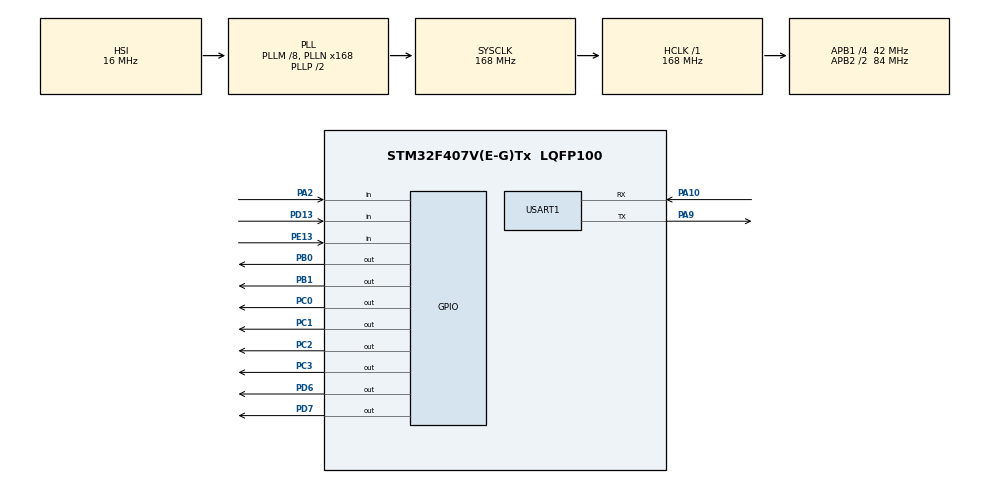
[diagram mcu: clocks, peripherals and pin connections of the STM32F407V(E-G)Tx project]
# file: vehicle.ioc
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Mcu.Family=STM32F4
Mcu.Name=STM32F407V(E-G)Tx
Mcu.Package=LQFP100
NVIC.PriorityGroup=NVIC_PRIORITYGROUP_4
PA10.Mode=Asynchronous
PA10.Signal=USART1_RX
PA13.Mode=Serial_Wire
PA13.Signal=SYS_JTMS-SWDIO
PA14.Mode=Serial_Wire
PA14.Signal=SYS_JTCK-SWCLK
PA2.Signal=GPIO_Input
PA9.Mode=Asynchronous
PA9.Signal=USART1_TX
PB0.Signal=GPIO_Output
PB1.Signal=GPIO_Output
PC0.Signal=GPIO_Output
PC1.Signal=GPIO_Output
PC2.Signal=GPIO_Output
PC3.Signal=GPIO_Output
PD13.Signal=GPIO_Input
PD6.Signal=GPIO_Output
PD7.Signal=GPIO_Output
PE13.Signal=GPIO_Input
PH0-OSC_IN.Mode=HSE-External-Oscillator
PH0-OSC_IN.Signal=RCC_OSC_IN
PH1-OSC_OUT.Mode=HSE-External-Oscillator
PH1-OSC_OUT.Signal=RCC_OSC_OUT
ProjectManager.HeapSize=0x200
ProjectManager.StackSize=0x400
ProjectManager.TargetToolchain=STM32CubeIDE
RCC.48MHZClocksFreq_Value=84000000
RCC.AHBFreq_Value=168000000
RCC.APB1CLKDivider=RCC_HCLK_DIV4
RCC.APB1Freq_Value=42000000
RCC.APB1TimFreq_Value=84000000
RCC.APB2CLKDivider=RCC_HCLK_DIV2
RCC.APB2Freq_Value=84000000
RCC.APB2TimFreq_Value=168000000
RCC.CortexFreq_Value=168000000
RCC.HCLKFreq_Value=168000000
RCC.HSE_VALUE=25000000
RCC.HSI_VALUE=16000000
RCC.LSE_VALUE=32768
RCC.PLLM=8
RCC.PLLN=168
RCC.SYSCLKFreq_VALUE=168000000
RCC.SYSCLKSource=RCC_SYSCLKSOURCE_PLLCLK
RCC.VCOOutputFreq_Value=336000000
USART1.VirtualMode=VM_ASYNC
board=custom

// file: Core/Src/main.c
/* USER CODE BEGIN Header */
/**
 ******************************************************************************
 * @file           : main.c
 * @brief          : Main program body
 ******************************************************************************
 * @attention
 *
 * Copyright (c) 2022 STMicroelectronics.
 * All rights reserved.
 *
 * This software is licensed under terms that can be found in the LICENSE file
 * in the root directory of this software component.
 * If no LICENSE file comes with this software, it is provided AS-IS.
 *
 ******************************************************************************
 */
/* USER CODE END Header */
#include "main.h"
#include "string.h"
#include "stdio.h"
/* USER CODE BEGIN Includes */
#define DELAY_SIDE HAL_Delay(32000)
#define DELAY_PLATFORM HAL_Delay(53000)
#define DELAY_SHUTTER HAL_Delay(20000)
/* USER CODE END Includes */

/* USER CODE BEGIN PTD */
int shutter = 0;
int side = 0;
int platform = 0;
int shut_flag = 0;
int side_flag = 0;
int plat_flag = 0;
int condition_1 = 0;
int condition_0 = 0;
int condition_2 = 0;
int forward = 1;
int backward = 0;
int condition_3 = 0;
/* USER CODE END PTD */

UART_HandleTypeDef huart1;

void SystemClock_Config(void);
static void MX_GPIO_Init(void);
static void MX_USART1_UART_Init(void);

/* USER CODE BEGIN 0 */
void shutter_open() {
	HAL_GPIO_WritePin(GPIOD, GPIO_PIN_6, GPIO_PIN_SET);
	HAL_GPIO_WritePin(GPIOD, GPIO_PIN_7, GPIO_PIN_RESET);
//	GPIOD->ODR = 0b0000000001000000;

}

void shutter_close() {
	HAL_GPIO_WritePin(GPIOD, GPIO_PIN_6, GPIO_PIN_RESET);
	HAL_GPIO_WritePin(GPIOD, GPIO_PIN_7, GPIO_PIN_SET);
}

void shutter_off() {
	HAL_GPIO_WritePin(GPIOD, GPIO_PIN_6, GPIO_PIN_RESET);
	HAL_GPIO_WritePin(GPIOD, GPIO_PIN_7, GPIO_PIN_RESET);
}

void side_open() {

	HAL_GPIO_WritePin(GPIOB, GPIO_PIN_0, GPIO_PIN_SET);
	HAL_GPIO_WritePin(GPIOB, GPIO_PIN_1, GPIO_PIN_RESET);

}

void side_close() {

	HAL_GPIO_WritePin(GPIOB, GPIO_PIN_0, GPIO_PIN_RESET);
	HAL_GPIO_WritePin(GPIOB, GPIO_PIN_1, GPIO_PIN_SET);

}

void side_off() {

	HAL_GPIO_WritePin(GPIOB, GPIO_PIN_0, GPIO_PIN_SET);
	HAL_GPIO_WritePin(GPIOB, GPIO_PIN_1, GPIO_PIN_SET);

}

void platform_rise() {

	HAL_GPIO_WritePin(GPIOC, GPIO_PIN_0 | GPIO_PIN_1, GPIO_PIN_SET);
	HAL_GPIO_WritePin(GPIOC, GPIO_PIN_2 | GPIO_PIN_3, GPIO_PIN_RESET);

}

void platform_down() {

	HAL_GPIO_WritePin(GPIOC, GPIO_PIN_0 | GPIO_PIN_1, GPIO_PIN_RESET);
	HAL_GPIO_WritePin(GPIOC, GPIO_PIN_2 | GPIO_PIN_3, GPIO_PIN_SET);

}

void platform_off() {

	HAL_GPIO_WritePin(GPIOC, GPIO_PIN_0 | GPIO_PIN_1, GPIO_PIN_SET);
	HAL_GPIO_WritePin(GPIOC, GPIO_PIN_2 | GPIO_PIN_3, GPIO_PIN_SET);

}
/* USER CODE END 0 */

int main(void) {

	/* MCU Configuration--------------------------------------------------------*/

	/* Reset of all peripherals, Initializes the Flash interface and the Systick. */
	HAL_Init();

	/* Configure the system clock */
	SystemClock_Config();

	/* Initialize all configured peripherals */
	MX_GPIO_Init();
	MX_USART1_UART_Init();
	/* USER CODE BEGIN 2 */
	HAL_UART_Transmit(&huart1, "y", 1, 100);
	/* USER CODE END 2 */
	side_off();
	platform_off();

	/* Infinite loop */
	while (1) {
		while (forward == 1) {
//			HAL_UART_Transmit(&huart1, "forward", 10, 100);
			/*if ((HAL_GPIO_ReadPin(GPIOE, GPIO_PIN_13) == GPIO_PIN_SET)) {
			 HAL_Delay(50);
			 while ((HAL_GPIO_ReadPin(GPIOE, GPIO_PIN_13) == GPIO_PIN_SET)) {
			 side_flag = !side_flag;
			 HAL_UART_Transmit(&huart1, "a", 1, 100);
			 //				SIDE_OPEN;
			 if (side_flag == 1) {
			 condition_3 = 0;
			 } else if (side_flag == 0) {
			 condition_3 = 1;
			 }
			 while ((side_flag == 1) && (condition_3 == 0)) {
			 HAL_UART_Transmit(&huart1, "c", 1, 100);
			 //						HAL_UART_Transmit(&huart1, "side", 10, 100);
			 side_open();
			 HAL_Delay(70000);

			 side_off();
			 side = 1;
			 HAL_UART_Transmit(&huart1, "d", 1, 100);
			 shutter = 0;
			 condition_3 = 1;
			 }
			 while ((side_flag == 0) && (condition_3 == 1)) {
			 HAL_UART_Transmit(&huart1, "c", 1, 100);
			 side_close();
			 HAL_Delay(70000);

			 side_off();
			 //			side = 1;
			 //			platform = 0;
			 HAL_UART_Transmit(&huart1, "b", 10, 100);
			 condition_3 = 0;
			 }

			 }
			 }*/

			while (condition_0 == 0) {

				if ((HAL_GPIO_ReadPin(GPIOE, GPIO_PIN_13) == GPIO_PIN_SET)) {
					HAL_Delay(50);
					while ((HAL_GPIO_ReadPin(GPIOE, GPIO_PIN_13) == GPIO_PIN_SET)) {
						side_flag = !side_flag;
						HAL_UART_Transmit(&huart1, "a", 1, 100);
						//				SIDE_OPEN;
						if (side_flag == 1) {

							condition_3 = 0;
						} else if (side_flag == 0) {
							condition_3 = 1;
						}

						while ((side_flag == 1) && (condition_3 == 0)) {
							HAL_UART_Transmit(&huart1, "b", 1, 100);
							//						HAL_UART_Transmit(&huart1, "side", 10, 100);
							side_open();
//							HAL_Delay(70000);
							DELAY_SIDE;

							side_off();
							side = 1;
							HAL_UART_Transmit(&huart1, "c", 1, 100);
							//shutter = 0;
							condition_3 = 1;
						}
						while ((side_flag == 0) && (condition_3 == 1)) {
							HAL_UART_Transmit(&huart1, "b", 1, 100);
							side_close();
//							HAL_Delay(70000);
							DELAY_SIDE;

							side_off();
							//			side = 1;
							//			platform = 0;
							HAL_UART_Transmit(&huart1, "d", 10, 100);
							condition_3 = 0;
						}
					}
				}

				if (HAL_GPIO_ReadPin(GPIOA, GPIO_PIN_2) == GPIO_PIN_SET) {
					HAL_Delay(50);
					while (HAL_GPIO_ReadPin(GPIOA, GPIO_PIN_2) == GPIO_PIN_SET) {
						shut_flag = !shut_flag;
						HAL_UART_Transmit(&huart1, "e", 1, 100);
						HAL_Delay(1000);
						//HAL_UART_Transmit(&huart1, "f	", 1, 100);
//						condition_0 = 1;

						while ((shut_flag == 1) && (shutter == 0)) {
							HAL_UART_Transmit(&huart1, "f", 1, 100);
							//							HAL_Delay(1000);
//					HAL_UART_Transmit(&huart1, "shutter1", 10, 100);
							shutter_open();

//							HAL_Delay(40000);
							DELAY_SHUTTER;

							shutter_off();
							HAL_UART_Transmit(&huart1, "g", 1, 100);
							shutter = 1;
							condition_1 = 1;
							condition_0 = 1;
						}
					}
				}

			}

			while ((condition_1 == 1) && (shutter == 1)) {
//				HAL_UART_Transmit(&huart1, "inside", 10, 100);
				if ((HAL_GPIO_ReadPin(GPIOE, GPIO_PIN_13) == GPIO_PIN_SET)) {
					HAL_Delay(50);
					while ((HAL_GPIO_ReadPin(GPIOE, GPIO_PIN_13) == GPIO_PIN_SET)) {
						side_flag = !side_flag;
						HAL_UART_Transmit(&huart1, "a", 1, 100);
						//				SIDE_OPEN;
						if (side_flag == 1) {
							condition_3 = 0;
						} else if (side_flag == 0) {
							condition_3 = 1;
						}

						while ((side_flag == 1) && (condition_3 == 0)) {
							HAL_UART_Transmit(&huart1, "b", 1, 100);
							//						HAL_UART_Transmit(&huart1, "side", 10, 100);
							side_open();
//							HAL_Delay(70000);
							DELAY_SIDE;

							side_off();
							side = 1;
							HAL_UART_Transmit(&huart1, "c", 1, 100);
							//shutter = 0;
							condition_3 = 1;
						}
						while ((side_flag == 0) && (condition_3 == 1)) {
							HAL_UART_Transmit(&huart1, "b", 1, 100);
							side_close();
//							HAL_Delay(70000);
							DELAY_SIDE;

							side_off();
							//			side = 1;
							//			platform = 0;
							HAL_UART_Transmit(&huart1, "d", 10, 100);
							condition_3 = 0;
						}
					}
				}

				//check PA2 for side motor
				if ((HAL_GPIO_ReadPin(GPIOD, GPIO_PIN_13) == GPIO_PIN_SET)
						&& (condition_1 == 1)) {
					HAL_Delay(50);
					while ((HAL_GPIO_ReadPin(GPIOD, GPIO_PIN_13) == GPIO_PIN_SET)
							&& (condition_1 == 1)) {
						plat_flag = !plat_flag;
						HAL_UART_Transmit(&huart1, "i", 1, 100);
						//				platform

						while ((plat_flag == 1) && (shutter == 1)) {
							HAL_UART_Transmit(&huart1, "j", 1, 100);
//				HAL_UART_Transmit(&huart1, "plat1", 10, 100);
							platform_rise();

//							HAL_Delay(70000);
							DELAY_PLATFORM;

							platform_off();
							HAL_UART_Transmit(&huart1, "k", 1, 100);
							side = 0;
//				condition_3 = 1;
							//side_flag = 0;
							shut_flag = 0;
							plat_flag = 0;
							shutter = 0;
							forward = 0;
							backward = 1;
							//HAL_UART_Transmit(&huart1, "m", 1, 100);
							condition_1 = 0;
						}
					}
				}

			}

		}
		while (backward == 1) {
//			HAL_UART_Transmit(&huart1, "backward", 10, 100);
			/*	if ((HAL_GPIO_ReadPin(GPIOE, GPIO_PIN_13) == GPIO_PIN_SET)) {
			 HAL_Delay(50);
			 while ((HAL_GPIO_ReadPin(GPIOE, GPIO_PIN_13) == GPIO_PIN_SET)) {
			 side_flag = !side_flag;
			 HAL_UART_Transmit(&huart1, "a", 1, 100);
			 //				SIDE_OPEN;
			 if (side_flag == 1) {
			 condition_3 = 0;
			 } else if (side_flag == 0) {
			 condition_3 = 1;
			 }
			 while ((side_flag == 1) && (condition_3 == 0)) {
			 HAL_UART_Transmit(&huart1, "c", 1, 100);
			 //						HAL_UART_Transmit(&huart1, "side", 10, 100);
			 side_open();
			 HAL_Delay(70000);

			 side_off();
			 side = 1;
			 HAL_UART_Transmit(&huart1, "d", 1, 100);
			 shutter = 0;
			 condition_3 = 1;
			 }
			 while ((side_flag == 0) && (condition_3 == 1)) {
			 HAL_UART_Transmit(&huart1, "c", 1, 100);
			 side_close();
			 HAL_Delay(70000);

			 side_off();
			 //			side = 1;
			 //			platform = 0;
			 HAL_UART_Transmit(&huart1, "b", 10, 100);
			 condition_3 = 0;
			 }

			 }
			 }*/
			while (condition_0 == 1) {

				if ((HAL_GPIO_ReadPin(GPIOE, GPIO_PIN_13) == GPIO_PIN_SET)) {
					HAL_Delay(50);
					while ((HAL_GPIO_ReadPin(GPIOE, GPIO_PIN_13) == GPIO_PIN_SET)) {
						side_flag = !side_flag;
						HAL_UART_Transmit(&huart1, "a", 1, 100);
						//				SIDE_OPEN;
						if (side_flag == 1) {
							condition_3 = 0;
						} else if (side_flag == 0) {
							condition_3 = 1;
						}

						while ((side_flag == 1) && (condition_3 == 0)) {
							HAL_UART_Transmit(&huart1, "b", 1, 100);
							//						HAL_UART_Transmit(&huart1, "side", 10, 100);
							side_open();
//							HAL_Delay(70000);
							DELAY_SIDE;
							side_off();
							side = 1;
							HAL_UART_Transmit(&huart1, "c", 1, 100);
							//shutter = 0;
							condition_3 = 1;
						}
						while ((side_flag == 0) && (condition_3 == 1)) {
							HAL_UART_Transmit(&huart1, "b", 1, 100);
							side_close();
//					HAL_Delay(70000);
							DELAY_SIDE;
							side_off();
							//			side = 1;
							//			platform = 0;
							HAL_UART_Transmit(&huart1, "d", 10, 100);
							condition_3 = 0;
						}
					}
				}

				if (HAL_GPIO_ReadPin(GPIOD, GPIO_PIN_13) == GPIO_PIN_SET) {
					HAL_Delay(50);
					while (HAL_GPIO_ReadPin(GPIOD, GPIO_PIN_13) == GPIO_PIN_SET) {
						HAL_UART_Transmit(&huart1, "i", 1, 100);
						HAL_Delay(1000);
						//HAL_UART_Transmit(&huart1, "k", 1, 100);
//						HAL_UART_Transmit(&huart1, "platd", 10, 100);
						plat_flag = !plat_flag;
//						condition_0 = 0;

						while ((plat_flag == 1) && (platform == 0)) {
							HAL_UART_Transmit(&huart1, "j", 1, 100);
//					HAL_UART_Transmit(&huart1, "plat2", 10, 100);
							platform_down();
//							HAL_Delay(70000);
							DELAY_PLATFORM;
							platform_off();
							condition_1 = 1;
							HAL_UART_Transmit(&huart1, "l", 1, 100);
							platform = 1;
							condition_0 = 0;
						}
					}
				}

			}

			while ((condition_1 == 1) && (platform == 1)) {
				//check PA2 for side motor
				if ((HAL_GPIO_ReadPin(GPIOE, GPIO_PIN_13) == GPIO_PIN_SET)) {
					HAL_Delay(50);
					while ((HAL_GPIO_ReadPin(GPIOE, GPIO_PIN_13) == GPIO_PIN_SET)) {
						side_flag = !side_flag;
						HAL_UART_Transmit(&huart1, "a", 1, 100);
						//				SIDE_OPEN;
						if (side_flag == 1) {
							condition_3 = 0;
						} else if (side_flag == 0) {
							condition_3 = 1;
						}

						while ((side_flag == 1) && (condition_3 == 0)) {
							HAL_UART_Transmit(&huart1, "b", 1, 100);
							//						HAL_UART_Transmit(&huart1, "side", 10, 100);
							side_open();
//					HAL_Delay(70000);
							DELAY_SIDE;

							side_off();
							side = 1;
							HAL_UART_Transmit(&huart1, "c", 1, 100);
							//shutter = 0;
							condition_3 = 1;
						}
						while ((side_flag == 0) && (condition_3 == 1)) {
							HAL_UART_Transmit(&huart1, "b", 1, 100);
							side_close();
//					HAL_Delay(70000);
							DELAY_SIDE;

							side_off();
							//			side = 1;
							//			platform = 0;
							HAL_UART_Transmit(&huart1, "d", 10, 100);
							condition_3 = 0;
						}
					}
				}

				if ((HAL_GPIO_ReadPin(GPIOA, GPIO_PIN_2) == GPIO_PIN_SET)
						&& (condition_1 == 1)) {
					HAL_Delay(50);
					while ((HAL_GPIO_ReadPin(GPIOA, GPIO_PIN_2) == GPIO_PIN_SET)
							&& (condition_1 == 1)) {
						shut_flag = !shut_flag;
						HAL_UART_Transmit(&huart1, "e", 1, 100);
//						HAL_UART_Transmit(&huart1, "sided", 10, 100);
						//				SIDE_OPEN;
						//condition_1 = 0;

						while ((shut_flag == 1) && (platform == 1)) {
							HAL_UART_Transmit(&huart1, "f", 1, 100);
//				HAL_UART_Transmit(&huart1, "side2", 10, 100);
							shutter_close();
//							HAL_Delay(40000);
							DELAY_SHUTTER;

							shutter_off();
							HAL_UART_Transmit(&huart1, "h", 1, 100);
							side = 0;
						//	side_flag = 0;
							shut_flag = 0;
							plat_flag = 0;
							platform = 0;

							forward = 1;
							backward = 0;
							condition_3 = 0;
							condition_0 = 0;
							//HAL_UART_Transmit(&huart1, "m", 1, 100);
							condition_1 = 0;
						}
					}
				}

			}

			//check PA2 for side motor

			/* USER CODE BEGIN 3 */
		}
		/* USER CODE BEGIN 3 */
	}
	/* USER CODE END 3 */
}

void SystemClock_Config(void) {
	RCC_OscInitTypeDef RCC_OscInitStruct = { 0 };
	RCC_ClkInitTypeDef RCC_ClkInitStruct = { 0 };

	/** Configure the main internal regulator output voltage
	 */
	__HAL_RCC_PWR_CLK_ENABLE();
	__HAL_PWR_VOLTAGESCALING_CONFIG(PWR_REGULATOR_VOLTAGE_SCALE1);
	/** Initializes the RCC Oscillators according to the specified parameters
	 * in the RCC_OscInitTypeDef structure.
	 */
	RCC_OscInitStruct.OscillatorType = RCC_OSCILLATORTYPE_HSI;
	RCC_OscInitStruct.HSIState = RCC_HSI_ON;
	RCC_OscInitStruct.HSICalibrationValue = RCC_HSICALIBRATION_DEFAULT;
	RCC_OscInitStruct.PLL.PLLState = RCC_PLL_ON;
	RCC_OscInitStruct.PLL.PLLSource = RCC_PLLSOURCE_HSI;
	RCC_OscInitStruct.PLL.PLLM = 8;
	RCC_OscInitStruct.PLL.PLLN = 168;
	RCC_OscInitStruct.PLL.PLLP = RCC_PLLP_DIV2;
	RCC_OscInitStruct.PLL.PLLQ = 4;
	if (HAL_RCC_OscConfig(&RCC_OscInitStruct) != HAL_OK) {
		Error_Handler();
	}
	/** Initializes the CPU, AHB and APB buses clocks
	 */
	RCC_ClkInitStruct.ClockType = RCC_CLOCKTYPE_HCLK | RCC_CLOCKTYPE_SYSCLK
			| RCC_CLOCKTYPE_PCLK1 | RCC_CLOCKTYPE_PCLK2;
	RCC_ClkInitStruct.SYSCLKSource = RCC_SYSCLKSOURCE_PLLCLK;
	RCC_ClkInitStruct.AHBCLKDivider = RCC_SYSCLK_DIV1;
	RCC_ClkInitStruct.APB1CLKDivider = RCC_HCLK_DIV4;
	RCC_ClkInitStruct.APB2CLKDivider = RCC_HCLK_DIV2;

	if (HAL_RCC_ClockConfig(&RCC_ClkInitStruct, FLASH_LATENCY_5) != HAL_OK) {
		Error_Handler();
	}
}

static void MX_USART1_UART_Init(void) {

	huart1.Instance = USART1;
	huart1.Init.BaudRate = 115200;
	huart1.Init.WordLength = UART_WORDLENGTH_8B;
	huart1.Init.StopBits = UART_STOPBITS_1;
	huart1.Init.Parity = UART_PARITY_NONE;
	huart1.Init.Mode = UART_MODE_TX_RX;
	huart1.Init.HwFlowCtl = UART_HWCONTROL_NONE;
	huart1.Init.OverSampling = UART_OVERSAMPLING_16;
	if (HAL_UART_Init(&huart1) != HAL_OK) {
		Error_Handler();
	}

}

static void MX_GPIO_Init(void) {
	GPIO_InitTypeDef GPIO_InitStruct = { 0 };

	/* GPIO Ports Clock Enable */
	__HAL_RCC_GPIOH_CLK_ENABLE();
	__HAL_RCC_GPIOC_CLK_ENABLE();
	__HAL_RCC_GPIOA_CLK_ENABLE();
	__HAL_RCC_GPIOB_CLK_ENABLE();
	__HAL_RCC_GPIOE_CLK_ENABLE();
	__HAL_RCC_GPIOD_CLK_ENABLE();

	/*Configure GPIO pin Output Level */
	HAL_GPIO_WritePin(GPIOC, GPIO_PIN_0 | GPIO_PIN_1 | GPIO_PIN_2 | GPIO_PIN_3,
			GPIO_PIN_RESET);

	/*Configure GPIO pin Output Level */
	HAL_GPIO_WritePin(GPIOB, GPIO_PIN_0 | GPIO_PIN_1, GPIO_PIN_RESET);

	/*Configure GPIO pin Output Level */
	HAL_GPIO_WritePin(GPIOD, GPIO_PIN_6 | GPIO_PIN_7, GPIO_PIN_RESET);

	/*Configure GPIO pins : PC0 PC1 PC2 PC3 */
	GPIO_InitStruct.Pin = GPIO_PIN_0 | GPIO_PIN_1 | GPIO_PIN_2 | GPIO_PIN_3;
	GPIO_InitStruct.Mode = GPIO_MODE_OUTPUT_PP;
	GPIO_InitStruct.Pull = GPIO_NOPULL;
	GPIO_InitStruct.Speed = GPIO_SPEED_FREQ_LOW;
	HAL_GPIO_Init(GPIOC, &GPIO_InitStruct);

	/*Configure GPIO pin : PA2 */
	GPIO_InitStruct.Pin = GPIO_PIN_2;
	GPIO_InitStruct.Mode = GPIO_MODE_INPUT;
	GPIO_InitStruct.Pull = GPIO_NOPULL;
	HAL_GPIO_Init(GPIOA, &GPIO_InitStruct);

	/*Configure GPIO pins : PB0 PB1 */
	GPIO_InitStruct.Pin = GPIO_PIN_0 | GPIO_PIN_1;
	GPIO_InitStruct.Mode = GPIO_MODE_OUTPUT_PP;
	GPIO_InitStruct.Pull = GPIO_NOPULL;
	GPIO_InitStruct.Speed = GPIO_SPEED_FREQ_LOW;
	HAL_GPIO_Init(GPIOB, &GPIO_InitStruct);

	/*Configure GPIO pin : PE13 */
	GPIO_InitStruct.Pin = GPIO_PIN_13;
	GPIO_InitStruct.Mode = GPIO_MODE_INPUT;
	GPIO_InitStruct.Pull = GPIO_NOPULL;
	HAL_GPIO_Init(GPIOE, &GPIO_InitStruct);

	/*Configure GPIO pin : PD13 */
	GPIO_InitStruct.Pin = GPIO_PIN_13;
	GPIO_InitStruct.Mode = GPIO_MODE_INPUT;
	GPIO_InitStruct.Pull = GPIO_NOPULL;
	HAL_GPIO_Init(GPIOD, &GPIO_InitStruct);

	/*Configure GPIO pins : PD6 PD7 */
	GPIO_InitStruct.Pin = GPIO_PIN_6 | GPIO_PIN_7;
	GPIO_InitStruct.Mode = GPIO_MODE_OUTPUT_PP;
	GPIO_InitStruct.Pull = GPIO_NOPULL;
	GPIO_InitStruct.Speed = GPIO_SPEED_FREQ_LOW;
	HAL_GPIO_Init(GPIOD, &GPIO_InitStruct);

}

void Error_Handler(void) {
	__disable_irq();
	while (1) {
	}
}
